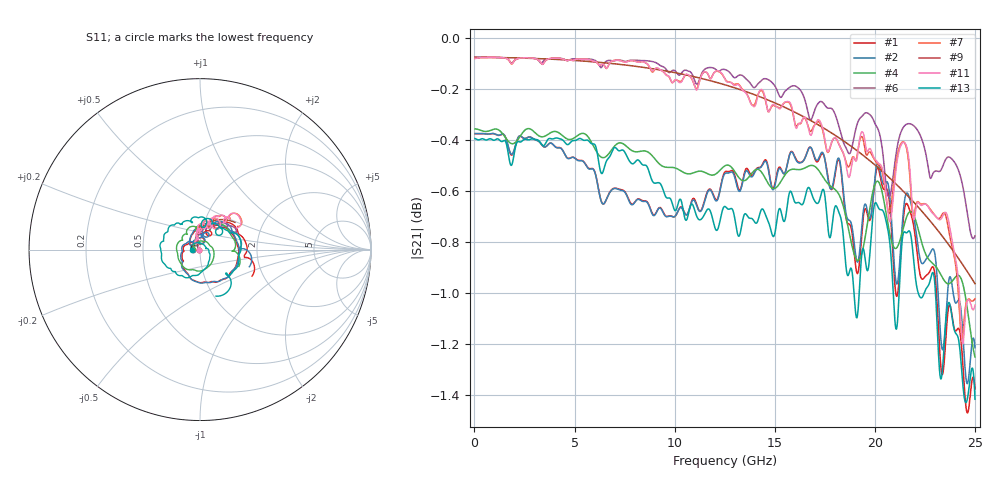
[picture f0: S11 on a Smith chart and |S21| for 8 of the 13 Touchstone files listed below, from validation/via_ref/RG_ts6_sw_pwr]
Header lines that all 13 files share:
# Hz S RI R 50
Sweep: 25 MHz to 25 GHz
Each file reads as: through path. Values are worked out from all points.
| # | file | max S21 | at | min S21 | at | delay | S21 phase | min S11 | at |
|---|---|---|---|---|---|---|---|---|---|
| 1 | cst.s2p | -0.38 dB | 925 MHz | -1.5 dB | 24.62 GHz | 58.4 ps | 100 deg at 12.53 GHz | -29.8 dB | 19.15 GHz |
| 2 | cst_fine.s2p | -0.37 dB | 900 MHz | -1.4 dB | 24.62 GHz | 58.2 ps | 101 deg at 12.53 GHz | -29.6 dB | 19.2 GHz |
| 3 | deembedded.s2p | -0.04 dB | 2.7 GHz | -0.7 dB | 25 GHz | 9.04 ps | -40 deg at 12.53 GHz | -48.6 dB | 50 MHz |
| 4 | kisi.s2p | -0.36 dB | 2.7 GHz | -1.3 dB | 25 GHz | 58 ps | 100 deg at 12.53 GHz | -28.8 dB | 1.825 GHz |
| 5 | kisi_base.s2p | -0.38 dB | 4.05 GHz | -1.4 dB | 25 GHz | 59.9 ps | 92 deg at 12.53 GHz | -30.8 dB | 5.675 GHz |
| 6 | ladder_grid.s2p | -0.08 dB | 25 MHz | -0.8 dB | 24.9 GHz | 10.4 ps | -44 deg at 12.53 GHz | -41.1 dB | 25 MHz |
| 7 | ladder_grid_ret.s2p | -0.08 dB | 850 MHz | -1.2 dB | 24.35 GHz | 10.3 ps | -44 deg at 12.53 GHz | -41.6 dB | 25 MHz |
| 8 | ladder_inf.s2p | -0.08 dB | 25 MHz | -0.7 dB | 25 GHz | 10.3 ps | -44 deg at 12.53 GHz | -41.1 dB | 25 MHz |
| 9 | ladder_inf_ret.s2p | -0.08 dB | 25 MHz | -1.0 dB | 25 GHz | 10.2 ps | -43 deg at 12.53 GHz | -41.1 dB | 25 MHz |
| 10 | ladder_rect.s2p | -0.08 dB | 25 MHz | -0.9 dB | 24.93 GHz | 10.3 ps | -44 deg at 12.53 GHz | -41.1 dB | 25 MHz |
| 11 | ladder_rect_ret.s2p | -0.08 dB | 850 MHz | -1.2 dB | 24.4 GHz | 10.3 ps | -44 deg at 12.53 GHz | -41.6 dB | 25 MHz |
| 12 | openems.s2p | -0.36 dB | 200 MHz | -1.3 dB | 24.52 GHz | 58.6 ps | 98 deg at 12.53 GHz | -29.4 dB | 1.8 GHz |
| 13 | openems_base.s2p | -0.39 dB | 4.1 GHz | -1.4 dB | 24.55 GHz | 60.9 ps | 88 deg at 12.53 GHz | -29.3 dB | 6.175 GHz |
